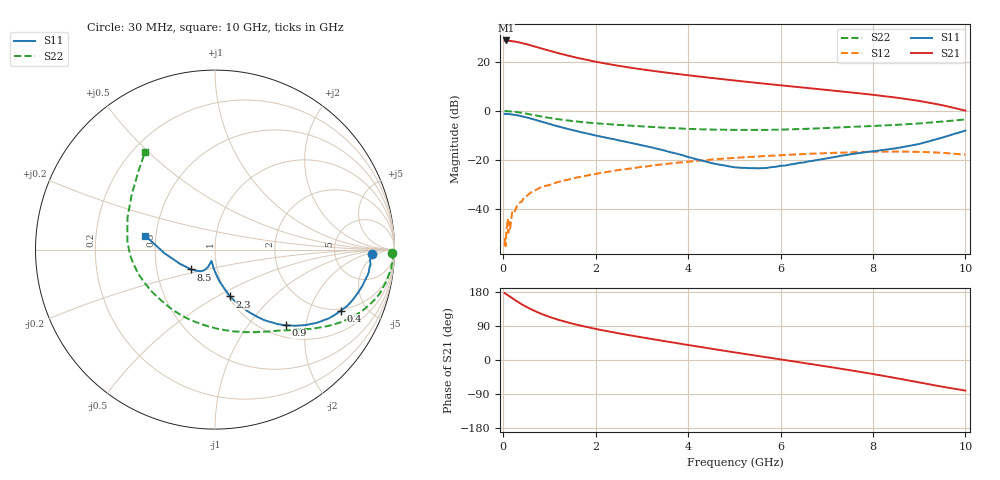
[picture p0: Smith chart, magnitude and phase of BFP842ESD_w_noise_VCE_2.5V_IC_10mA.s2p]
! Infineon Technologies  Discrete & RF Semiconductors
! BFP842ESD
! VCE =  2.5 V,  IC =  10 mA
! Common Emitter S-Parameters:  May 2012
# GHz  S  MA  R  50
!  f  S11  S21  S12  S22
! GHz  MAG  ANG  MAG  ANG  MAG  ANG  MAG  ANG
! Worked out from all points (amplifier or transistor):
!   99 points, 30 MHz to 10 GHz, reference 50 ohm
!   highest |S21| = 28.9 dB at 60 MHz (marker M1)
!   |S21| within 3 dB of that: start of sweep to 777.5 MHz
!   unconditionally stable (mu >= 1): 2.913 GHz to end of sweep
!   at 350 MHz: K = 0.33, MSG = 32.8 dB, |S12| = -37.6 dB
!   at 3.5 GHz: K = 1.04, MAG = 17.5 dB, |S12| = -21.8 dB
!   at 10 GHz: K = 1.83, MAG = 3.8 dB, |S12| = -17.9 dB
!   lowest NFmin = 0.59 dB at 450 MHz
!   S11 on the Smith chart (normalised r, x): 30 MHz: 14, -3; 400 MHz: 1.91, -3.32; 900 MHz: 1.22, -1.55; 2.3 GHz: 1.02, -0.58; 8.5 GHz: 0.75, -0.17; 10 GHz: 0.44, +0.08
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0.03  0.8742 -1.7  27.76 176.8  0.0018 74.1  0.9887 -1.0
0.05  0.8687 -3.3  27.46 174.8  0.0017 -172.6  0.989 -2.3
0.06  0.8653 -3.9  27.86 174.0  0.0025 -173.1  0.9938 -2.6
0.09  0.8669 -6.3  27.21 172.0  0.0053 82.1  0.99 -4.4
0.11  0.8653 -7.6  27.6 170.0  0.0032 78.2  0.987 -5.5
0.15  0.8579 -10.4  27.27 166.8  0.0039 90.4  0.9804 -7.7
0.25  0.8322 -16.8  26.48 158.6  0.0088 66.7  0.9593 -12.8
0.4  0.7793 -25.9  24.69 147.1  0.0139 72.2  0.9146 -19.5
0.5  0.7412 -31.1  23.42 140.3  0.018 70.5  0.8809 -23.4
0.6  0.6982 -35.8  22.01 134.0  0.0213 67.6  0.8455 -26.8
0.7  0.6568 -39.8  20.72 128.4  0.024 65.3  0.8115 -29.8
0.9  0.5778 -46.9  18.26 118.3  0.0291 62.5  0.7492 -34.9
1.2  0.4803 -55.0  15.25 105.9  0.0354 58.5  0.676 -40.9
1.4  0.4281 -58.9  13.66 99.1  0.039 56.1  0.6387 -44.3
1.7  0.3643 -63.9  11.73 90.1  0.0456 52.7  0.594 -49.2
2.3  0.2742 -72.0  9.082 74.9  0.0574 47.4  0.535 -58.8
2.7  0.2285 -75.9  7.855 66.0  0.0653 43.6  0.5051 -65.7
3.4  0.1624 -83.8  6.342 51.7  0.0798 36.3  0.4594 -79.7
5.1  0.069 -105.4  4.121 18.4  0.1109 14.4  0.4095 -120.4
6.7  0.0954 -110.8  2.884 -11.5  0.1339 -7.1  0.4359 -156.1
8.5  0.1723 -140.0  1.881 -47.8  0.1476 -37.5  0.5191 159.9
10  0.3971 168.6  1.019 -80.7  0.1268 -69.0  0.6698 125.6
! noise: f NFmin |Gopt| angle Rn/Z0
0.45  0.59  0.14  2  0.09
0.9  0.59  0.14  5  0.09
1.5  0.61  0.15  13  0.09
1.9  0.62  0.14  21  0.08
2.4  0.63  0.12  27  0.08
3.5  0.71  0.05  116  0.08
4  0.74  0.06  139  0.08
5  0.8  0.07  -173  0.08
5.5  0.92  0.08  -153  0.09
6  1.03  0.1  -143  0.09
